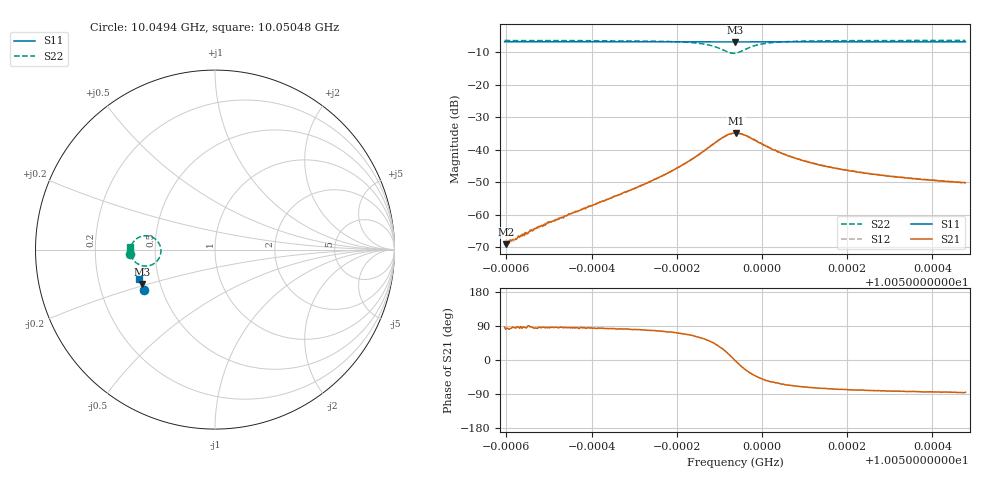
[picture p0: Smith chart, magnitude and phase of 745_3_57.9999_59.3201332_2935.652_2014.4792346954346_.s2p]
#  HZ  S  RI  R  50.00
! Rohde & Schwarz Vector Network Analyzer
! Rohde-Schwarz,ZNB20-2Port,1311601062101988,3.16
! Created: UTC 3/21/2024, 1:23:46 AM
! freq[Hz]  re:S11  im:S11  re:S21  im:S21  re:S12  im:S12  re:S22  im:S22
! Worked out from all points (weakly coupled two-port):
!   401 points, 10.0494 GHz to 10.05048 GHz, reference 50 ohm
!   highest |S21| = -34.90 dB at 10.04994 GHz (marker M1); lowest = -69.1 dB at 10.0494 GHz (marker M2)
!   lowest |S11| = -6.9 dB at 10.04994 GHz (marker M3), VSWR 2.64, Z = 19.7 - j9.6 ohm
!   |S11| at or under -10 dB: nowhere
!   |S22| runs from -10.4 to -6.5 dB; largest |S21 - S12| = 0.0017
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1.0049396e10  -0.3937 -0.2261  2.12e-05 0.000349  -1.32e-05 0.000359  -0.474 -0.0218
1.0049399e10  -0.3937 -0.2258  5.63e-05 0.000345  2.92e-05 0.000346  -0.4739 -0.0216
1.0049412e10  -0.3943 -0.2251  4.04e-05 0.000395  1.48e-05 0.000402  -0.4739 -0.0203
1.0049434e10  -0.3948 -0.2238  1.28e-05 0.00048  7.95e-06 0.000475  -0.4738 -0.0182
1.0049472e10  -0.3961 -0.2217  7.21e-05 0.000622  2.09e-05 0.000641  -0.4735 -0.0142
1.0049507e10  -0.3971 -0.2195  4.98e-05 0.000786  2.78e-05 0.000797  -0.4732 -0.0104
1.0049577e10  -0.3992 -0.2152  8.79e-05 0.00121  4.21e-05 0.00121  -0.4722 -0.00203
1.0049704e10  -0.4029 -0.2075  0.000411 0.00256  0.00032 0.00258  -0.4672 0.019
1.0049758e10  -0.4044 -0.2043  0.000856 0.00366  0.000672 0.00369  -0.4611 0.0321
1.0049826e10  -0.4062 -0.2001  0.00255 0.00602  0.00218 0.00609  -0.4418 0.0566
1.0049861e10  -0.4069 -0.1977  0.00506 0.00778  0.00451 0.008  -0.4153 0.0721
1.0049888e10  -0.4073 -0.1959  0.00892 0.00865  0.00838 0.00915  -0.3762 0.0771
1.0049918e10  -0.4073 -0.1944  0.0157 0.0057  0.0152 0.00664  -0.3165 0.0413
1.0049937e10  -0.4073 -0.1938  0.0179 -0.000475  0.0179 0.00124  -0.3017 -0.0157
1.0049939e10  -0.4075 -0.1937  0.018 -0.0012  0.0179 0.000398  -0.3029 -0.0244
1.0049969e10  -0.4087 -0.1928  0.0132 -0.00822  0.014 -0.00739  -0.3564 -0.0866
1.0050007e10  -0.4102 -0.1907  0.00704 -0.00926  0.00779 -0.00884  -0.4192 -0.0852
1.0050053e10  -0.4117 -0.1878  0.00357 -0.00765  0.00415 -0.00748  -0.4505 -0.0627
1.0050118e10  -0.4136 -0.1838  0.00182 -0.00593  0.0022 -0.00591  -0.4654 -0.0391
1.0050185e10  -0.4154 -0.1796  0.00109 -0.00485  0.00137 -0.00483  -0.471 -0.0231
1.0050299e10  -0.4182 -0.1726  0.000539 -0.00388  0.00079 -0.00389  -0.474 -0.00515
1.0050477e10  -0.4223 -0.1616  0.000259 -0.00309  0.000422 -0.00308  -0.4748 0.0145
